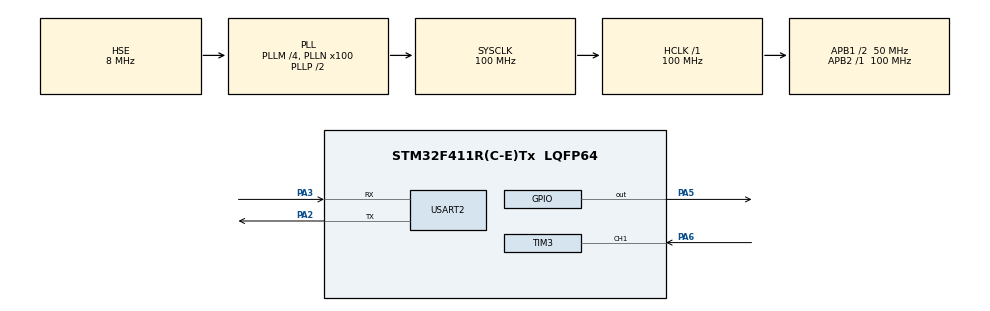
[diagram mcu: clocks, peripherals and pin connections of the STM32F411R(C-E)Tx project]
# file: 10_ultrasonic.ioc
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Mcu.Family=STM32F4
Mcu.Name=STM32F411R(C-E)Tx
Mcu.Package=LQFP64
NVIC.PriorityGroup=NVIC_PRIORITYGROUP_4
NVIC.TIM3_IRQn=true\:0\:0\:false\:false\:true\:true\:true\:true
NVIC.USART2_IRQn=true\:0\:0\:false\:false\:true\:true\:true\:true
PA13.Mode=Serial_Wire
PA13.Signal=SYS_JTMS-SWDIO
PA14.Mode=Serial_Wire
PA14.Signal=SYS_JTCK-SWCLK
PA2.Mode=Asynchronous
PA2.Signal=USART2_TX
PA3.Mode=Asynchronous
PA3.Signal=USART2_RX
PA5.GPIO_Speed=GPIO_SPEED_FREQ_HIGH
PA5.Signal=GPIO_Output
PA6.Signal=S_TIM3_CH1
PH0\ -\ OSC_IN.Mode=HSE-External-Oscillator
PH0\ -\ OSC_IN.Signal=RCC_OSC_IN
PH1\ -\ OSC_OUT.Mode=HSE-External-Oscillator
PH1\ -\ OSC_OUT.Signal=RCC_OSC_OUT
ProjectManager.HeapSize=0x200
ProjectManager.StackSize=0x400
ProjectManager.TargetToolchain=STM32CubeIDE
RCC.48MHZClocksFreq_Value=50000000
RCC.AHBFreq_Value=100000000
RCC.APB1CLKDivider=RCC_HCLK_DIV2
RCC.APB1Freq_Value=50000000
RCC.APB1TimFreq_Value=100000000
RCC.APB2Freq_Value=100000000
RCC.APB2TimFreq_Value=100000000
RCC.CortexFreq_Value=100000000
RCC.HCLKFreq_Value=100000000
RCC.HSE_VALUE=8000000
RCC.HSI_VALUE=16000000
RCC.LSE_VALUE=32768
RCC.PLLM=4
RCC.PLLN=100
RCC.PLLSourceVirtual=RCC_PLLSOURCE_HSE
RCC.SYSCLKFreq_VALUE=100000000
RCC.SYSCLKSource=RCC_SYSCLKSOURCE_PLLCLK
RCC.VCOOutputFreq_Value=200000000
SH.S_TIM3_CH1.0=TIM3_CH1,Input_Capture1_from_TI1
TIM3.Channel-Input_Capture1_from_TI1=TIM_CHANNEL_1
TIM3.Prescaler=100-1
USART2.VirtualMode=VM_ASYNC
VP_TIM11_VS_ClockSourceINT.Mode=Enable_Timer
VP_TIM3_VS_ClockSourceINT.Mode=Internal
board=custom

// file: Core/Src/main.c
/* USER CODE BEGIN Header */
/**
  ******************************************************************************
  * @file           : main.c
  * @brief          : Main program body
  ******************************************************************************
  * @attention
  *
  * Copyright (c) 2025 STMicroelectronics.
  * All rights reserved.
  *
  * This software is licensed under terms that can be found in the LICENSE file
  * in the root directory of this software component.
  * If no LICENSE file comes with this software, it is provided AS-IS.
  *
  ******************************************************************************
  */
/* USER CODE END Header */
#include "main.h"
#include "tim.h"
#include "usart.h"
#include "gpio.h"

/* USER CODE BEGIN Includes */
#include "delay_us.h"
#include  "stdio.h"
/* USER CODE END Includes */

/* USER CODE BEGIN PD */
#define TRIG_PORT   GPIOA
#define TRIG_PIN   GPIO_PIN_5
/* USER CODE END PD */

/* USER CODE BEGIN PM */
int _write(int file, unsigned char* p, int len)
{
    HAL_StatusTypeDef status = HAL_UART_Transmit(&huart2, p, len, 100);
    return (status == HAL_OK ? len : 0);
}
/* USER CODE END PM */

/* USER CODE BEGIN PV */
uint16_t IC_Value1 = 0; // 1캡쳐
uint16_t IC_Value2 = 0; // 2캡쳐
uint16_t echoTime = 0;  // 1캡쳐 - 2캡쳐
uint8_t captureFlag = 0;  // 캡쳐됬는지 확인 위해
uint8_t distance = 0;

/* USER CODE END PV */

void SystemClock_Config(void);
/* USER CODE BEGIN PFP */

void HCSR04_TRIGGER()
{
  HAL_GPIO_WritePin(GPIOA, GPIO_PIN_5, 0);
  delay_us(1);
  HAL_GPIO_WritePin(GPIOA, GPIO_PIN_5, 1);
  delay_us(10);
  HAL_GPIO_WritePin(GPIOA, GPIO_PIN_5, 0);

  __HAL_TIM_ENABLE_IT(&htim3, TIM_IT_CC1);

}

/* USER CODE END PFP */

/* USER CODE BEGIN 0 */
void HAL_TIM_IC_CaptureCallback(TIM_HandleTypeDef *htim)
{
  if(htim ->Channel == HAL_TIM_ACTIVE_CHANNEL_1)
  {
    if(captureFlag == 0)
    {
      IC_Value1 = HAL_TIM_ReadCapturedValue(&htim3, TIM_CHANNEL_1);
      captureFlag = 1; // capture done (rising)
      __HAL_TIM_SET_CAPTUREPOLARITY(&htim3, TIM_CHANNEL_1, TIM_INPUTCHANNELPOLARITY_FALLING);
    }
    else if(captureFlag == 1)
    {
      IC_Value2 = HAL_TIM_ReadCapturedValue(&htim3, TIM_CHANNEL_1);
      __HAL_TIM_SET_CAPTUREPOLARITY(&htim3, TIM_CHANNEL_1, TIM_INPUTCHANNELPOLARITY_RISING);

      if(IC_Value2 > IC_Value1)
      {
        echoTime = IC_Value2 - IC_Value1;
      }
      else if (IC_Value2 < IC_Value1)
      {
        echoTime = (0xffff- IC_Value1) + IC_Value2;
      }
      distance = echoTime/58;   // please watch your data sheet
      captureFlag = 0;
      __HAL_TIM_DISABLE_IT(&htim3, TIM_IT_CC1);
    }
  }
}
/* USER CODE END 0 */

int main(void)
{

  /* MCU Configuration--------------------------------------------------------*/

  /* Reset of all peripherals, Initializes the Flash interface and the Systick. */
  HAL_Init();

  /* Configure the system clock */
  SystemClock_Config();

  /* Initialize all configured peripherals */
  MX_GPIO_Init();
  MX_TIM3_Init();
  MX_TIM11_Init();
  MX_USART2_UART_Init();
  /* USER CODE BEGIN 2 */
  HAL_TIM_Base_Start(&htim11);   // for delay_us() function

  HAL_TIM_IC_Start_IT(&htim3, TIM_CHANNEL_1);
  /* USER CODE END 2 */

  /* Infinite loop */
  /* USER CODE BEGIN WHILE */
  while (1)
  {
    HCSR04_TRIGGER();

    printf("DISTANCE : %d cm\n", distance);
    HAL_Delay(500);

    /* USER CODE END WHILE */

  }
}

void SystemClock_Config(void)
{
  RCC_OscInitTypeDef RCC_OscInitStruct = {0};
  RCC_ClkInitTypeDef RCC_ClkInitStruct = {0};

  /** Configure the main internal regulator output voltage
  */
  __HAL_RCC_PWR_CLK_ENABLE();
  __HAL_PWR_VOLTAGESCALING_CONFIG(PWR_REGULATOR_VOLTAGE_SCALE1);

  /** Initializes the RCC Oscillators according to the specified parameters
  * in the RCC_OscInitTypeDef structure.
  */
  RCC_OscInitStruct.OscillatorType = RCC_OSCILLATORTYPE_HSE;
  RCC_OscInitStruct.HSEState = RCC_HSE_ON;
  RCC_OscInitStruct.PLL.PLLState = RCC_PLL_ON;
  RCC_OscInitStruct.PLL.PLLSource = RCC_PLLSOURCE_HSE;
  RCC_OscInitStruct.PLL.PLLM = 4;
  RCC_OscInitStruct.PLL.PLLN = 100;
  RCC_OscInitStruct.PLL.PLLP = RCC_PLLP_DIV2;
  RCC_OscInitStruct.PLL.PLLQ = 4;
  if (HAL_RCC_OscConfig(&RCC_OscInitStruct) != HAL_OK)
  {
    Error_Handler();
  }

  /** Initializes the CPU, AHB and APB buses clocks
  */
  RCC_ClkInitStruct.ClockType = RCC_CLOCKTYPE_HCLK|RCC_CLOCKTYPE_SYSCLK
                              |RCC_CLOCKTYPE_PCLK1|RCC_CLOCKTYPE_PCLK2;
  RCC_ClkInitStruct.SYSCLKSource = RCC_SYSCLKSOURCE_PLLCLK;
  RCC_ClkInitStruct.AHBCLKDivider = RCC_SYSCLK_DIV1;
  RCC_ClkInitStruct.APB1CLKDivider = RCC_HCLK_DIV2;
  RCC_ClkInitStruct.APB2CLKDivider = RCC_HCLK_DIV1;

  if (HAL_RCC_ClockConfig(&RCC_ClkInitStruct, FLASH_LATENCY_3) != HAL_OK)
  {
    Error_Handler();
  }
}

void Error_Handler(void)
{
  __disable_irq();
  while (1)
  {
  }
}
